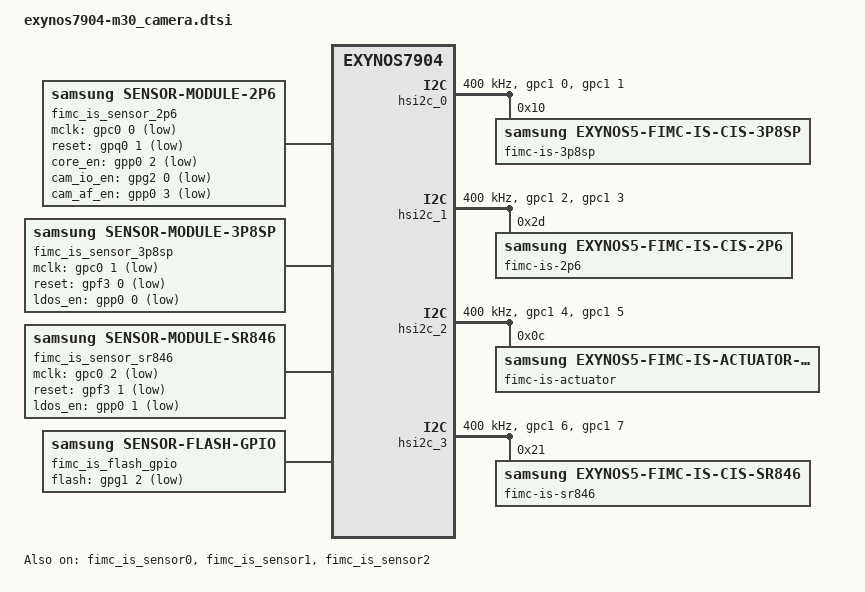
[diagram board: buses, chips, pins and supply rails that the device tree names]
/*
 * SAMSUNG EXYNOS7885 board camera device tree source
 *
 * Copyright (c) 2018 Samsung Electronics Co., Ltd.
 *		http://www.samsung.com
 *
 * This program is free software; you can redistribute it and/or modify
 * it under the terms of the GNU General Public License version 2 as
 * published by the Free Software Foundation.
 */

#include <dt-bindings/camera/fimc_is.h>

/ {
	fragment@camera {
		target-path = "/";
		__overlay__ {

			/* REAR CAMERA */
			fimc_is_sensor_2p6: fimc-is_sensor_2p6@5A {
				compatible = "samsung,sensor-module-2p6";

				pinctrl-names = "pin0", "pin1", "pin2", "release";
				pinctrl-0 = <>;
				pinctrl-1 = <&fimc_is_mclk0_out>;
				pinctrl-2 = <&fimc_is_mclk0_fn>;
				pinctrl-3 = <>;

				position = <0>;	/* Rear:0. Front:1 */
				id = <0>; /* bns_id */
				mclk_ch = <0>;

				gpio_mclk = <&gpc0 0 0x1>;
				gpio_reset = <&gpq0 1 0x1>; /* sensor reset */
				gpio_core_en = <&gpp0 2 0x1>; /* RCAM_LDO_EN */
				gpio_cam_io_en = <&gpg2 0 0x1>; /* RCAM_IO_LDO_EN */
				gpio_cam_af_en = <&gpp0 3 0x1>; /* RCAM_AF_2P8_EN */
				status = "okay";

				af {
					product_name = <16>; /* AK7372 */
					i2c_addr = <0x18>;
					i2c_ch = <3>;
				};

				flash {
					product_name = <11>; /* FLASH_GPIO */
					flash_first_gpio = <1>; /* DICO not use first, second gpio value */
					flash_second_gpio = <0>;
				};

				internal_vc {
					vc_list = <1 1 0>;
				};
			};

			/* FRONT CAMERA */
			fimc_is_sensor_3p8sp: fimc-is_sensor_3p8sp@5A {
				compatible = "samsung,sensor-module-3p8sp";

				pinctrl-names = "pin0", "pin1", "pin2", "release";
				pinctrl-0 = <>;
				pinctrl-1 = <&fimc_is_mclk1_out>;
				pinctrl-2 = <&fimc_is_mclk1_fn>;
				pinctrl-3 = <>;

				position = <1>;	/* Rear:0. Front:1 */
				id = <1>; /* bns_id */
				mclk_ch = <1>;

				gpio_mclk = <&gpc0 1 0x1>;
				gpio_reset = <&gpf3 0 0x1>;	/* sensor reset */
				gpio_ldos_en = <&gpp0 0 0x1>;	/* all LDOs */
				status = "okay";
			};

			/* FRONT2(FRONT SUB) CAMERA */
			fimc_is_sensor_sr846: fimc-is_sensor_sr846@5A {
				compatible = "samsung,sensor-module-sr846";

				pinctrl-names = "pin0", "pin1", "pin2", "release";
				pinctrl-0 = <>;
				pinctrl-1 = <&fimc_is_mclk2_out>;
				pinctrl-2 = <&fimc_is_mclk2_fn>;
				pinctrl-3 = <>;

				position = <2>;	/* Rear:0. Front:1 */
				id = <2>; /* bns_id */
				mclk_ch = <2>;

				gpio_mclk = <&gpc0 2 0x1>;
				gpio_reset = <&gpf3 1 0x1>;	/* sensor reset */
				gpio_ldos_en = <&gpp0 1 0x1>;	/* all LDOs */
				status = "okay";
			};

			/* FLASH MODULE */
			fimc_is_flash_gpio: fimc-is-flash_gpio@0 {
				compatible = "samsung,sensor-flash-gpio";
				id = <0>; /* matching sensor id */
				status = "okay";

				flash-gpio = <&gpg1 2 0x1>;
			};

		}; /* end of __overlay__ */
	}; /* end of fragment */
}; /* end of root */


/***** reference symbol node *****/

&fimc_is {
	pinctrl-names = "default","release";
	pinctrl-0 = <>;
	pinctrl-1 = <>;

	rear_sensor_id = <58>; /* 2P6 */
	front_sensor_id = <44>; /* 3P8SP */
	use_module_check;
	skip_cal_loading;
	fimc_is_dvfs {
		/* TODO: DVFS level set */
		#define DVFS_INT_L0 533000
		#define DVFS_INT_L1 333000
		#define DVFS_INT_L2 267000
		#define DVFS_INT_L3 133000
		#define DVFS_INT_L4 107000

		#define DVFS_CAM_L0 690000
		#define DVFS_CAM_L1 680000
		#define DVFS_CAM_L2 670000
		#define DVFS_CAM_L3 660000
		#define DVFS_CAM_L4 650000

		#define DVFS_MIF_L0 2093000
		#define DVFS_MIF_L1 2002000
		#define DVFS_MIF_L2 1794000
		#define DVFS_MIF_L3 1539000
		#define DVFS_MIF_L4 1352000
		#define DVFS_MIF_L5 1014000
		#define DVFS_MIF_L6 845000
		#define DVFS_MIF_L7 676000
		#define DVFS_MIF_L8 546000
		#define DVFS_MIF_L9 420000

		table0 {
			desc = "default";

			default_int = <DVFS_INT_L0>;
			default_cam = <DVFS_CAM_L0>;
			default_mif = <DVFS_MIF_L5>;
			default_i2c = <0>;

			front_preview_int = <DVFS_INT_L4>;
			front_preview_cam = <DVFS_CAM_L2>;
			front_preview_mif = <DVFS_MIF_L5>;
			front_preview_i2c = <0>;

			front_capture_int = <DVFS_INT_L4>;
			front_capture_cam = <DVFS_CAM_L2>;
			front_capture_mif = <DVFS_MIF_L5>;
			front_capture_i2c = <0>;

			front_video_int = <DVFS_INT_L4>;
			front_video_cam = <DVFS_CAM_L2>;
			front_video_mif = <DVFS_MIF_L5>;
			front_video_i2c = <0>;

			front_vt1_int = <DVFS_INT_L4>;
			front_vt1_cam = <DVFS_CAM_L3>;
			front_vt1_mif = <DVFS_MIF_L7>;
			front_vt1_i2c = <0>;

			front_vt2_int = <DVFS_INT_L4>;
			front_vt2_cam = <DVFS_CAM_L3>;
			front_vt2_mif = <DVFS_MIF_L7>;
			front_vt2_i2c = <0>;

			front_vt4_int = <DVFS_INT_L4>;
			front_vt4_cam = <DVFS_CAM_L3>;
			front_vt4_mif = <DVFS_MIF_L7>;
			front_vt4_i2c = <0>;

			rear_preview_fhd_int = <DVFS_INT_L4>;
			rear_preview_fhd_cam = <DVFS_CAM_L2>;
			rear_preview_fhd_mif = <DVFS_MIF_L4>;
			rear_preview_fhd_i2c = <0>;

			rear_capture_int = <DVFS_INT_L4>;
			rear_capture_cam = <DVFS_CAM_L1>;
			rear_capture_mif = <DVFS_MIF_L3>;
			rear_capture_i2c = <0>;

			rear_video_fhd_int = <DVFS_INT_L4>;
			rear_video_fhd_cam = <DVFS_CAM_L2>;
			rear_video_fhd_mif = <DVFS_MIF_L4>;
			rear_video_fhd_i2c = <0>;

			rear_video_uhd_int = <DVFS_INT_L4>;
			rear_video_uhd_cam = <DVFS_CAM_L2>;
			rear_video_uhd_mif = <DVFS_MIF_L1>;
			rear_video_uhd_i2c = <0>;

			rear_video_fhd_capture_int = <DVFS_INT_L4>;
			rear_video_fhd_capture_cam = <DVFS_CAM_L1>;
			rear_video_fhd_capture_mif = <DVFS_MIF_L3>;
			rear_video_fhd_capture_i2c = <0>;

			rear_video_uhd_capture_int = <DVFS_INT_L4>;
			rear_video_uhd_capture_cam = <DVFS_CAM_L0>;
			rear_video_uhd_capture_mif = <DVFS_MIF_L0>;
			rear_video_uhd_capture_i2c = <0>;

			dual_preview_int = <DVFS_INT_L4>;
			dual_preview_cam = <DVFS_CAM_L0>;
			dual_preview_mif = <DVFS_MIF_L4>;
			dual_preview_i2c = <0>;

			dual_capture_int = <DVFS_INT_L4>;
			dual_capture_cam = <DVFS_CAM_L0>;
			dual_capture_mif = <DVFS_MIF_L4>;
			dual_capture_i2c = <0>;

			dual_video_int = <DVFS_INT_L4>;
			dual_video_cam = <DVFS_CAM_L0>;
			dual_video_mif = <DVFS_MIF_L4>;
			dual_video_i2c = <0>;

			preview_high_speed_fps_int = <DVFS_INT_L4>;
			preview_high_speed_fps_cam = <DVFS_CAM_L2>;
			preview_high_speed_fps_mif = <DVFS_MIF_L5>;
			preview_high_speed_fps_i2c = <0>;

			video_high_speed_60fps_int = <DVFS_INT_L4>;
			video_high_speed_60fps_cam = <DVFS_CAM_L2>;
			video_high_speed_60fps_mif = <DVFS_MIF_L5>;
			video_high_speed_60fps_i2c = <0>;

			video_high_speed_120fps_int = <DVFS_INT_L4>;
			video_high_speed_120fps_cam = <DVFS_CAM_L2>;
			video_high_speed_120fps_mif = <DVFS_MIF_L5>;
			video_high_speed_120fps_i2c = <0>;

			max_int = <DVFS_INT_L0>;
			max_cam = <DVFS_CAM_L0>;
			max_mif = <DVFS_MIF_L5>;
			max_i2c = <0>;
		};

		table1 {
			desc = "DVFS table for HAL3";

			default_int = <DVFS_INT_L0>;
			default_cam = <DVFS_CAM_L0>;
			default_mif = <DVFS_MIF_L5>;
			default_i2c = <0>;

			front_preview_int = <DVFS_INT_L4>;
			front_preview_cam = <DVFS_CAM_L2>;
			front_preview_mif = <DVFS_MIF_L5>;
			front_preview_i2c = <0>;

			front_capture_int = <DVFS_INT_L4>;
			front_capture_cam = <DVFS_CAM_L2>;
			front_capture_mif = <DVFS_MIF_L5>;
			front_capture_i2c = <0>;

			front_video_int = <DVFS_INT_L4>;
			front_video_cam = <DVFS_CAM_L2>;
			front_video_mif = <DVFS_MIF_L5>;
			front_video_i2c = <0>;

			front_vt1_int = <DVFS_INT_L4>;
			front_vt1_cam = <DVFS_CAM_L3>;
			front_vt1_mif = <DVFS_MIF_L5>;
			front_vt1_i2c = <0>;

			front_vt2_int = <DVFS_INT_L4>;
			front_vt2_cam = <DVFS_CAM_L3>;
			front_vt2_mif = <DVFS_MIF_L5>;
			front_vt2_i2c = <0>;

			front_vt4_int = <DVFS_INT_L4>;
			front_vt4_cam = <DVFS_CAM_L3>;
			front_vt4_mif = <DVFS_MIF_L5>;
			front_vt4_i2c = <0>;

			rear_preview_fhd_int = <DVFS_INT_L4>;
			rear_preview_fhd_cam = <DVFS_CAM_L0>;
			rear_preview_fhd_mif = <DVFS_MIF_L2>;
			rear_preview_fhd_i2c = <0>;

			rear_capture_int = <DVFS_INT_L4>;
			rear_capture_cam = <DVFS_CAM_L0>;
			rear_capture_mif = <DVFS_MIF_L2>;
			rear_capture_i2c = <0>;

			rear_video_fhd_int = <DVFS_INT_L4>;
			rear_video_fhd_cam = <DVFS_CAM_L0>;
			rear_video_fhd_mif = <DVFS_MIF_L2>;
			rear_video_fhd_i2c = <0>;

			rear_video_uhd_int = <DVFS_INT_L4>;
			rear_video_uhd_cam = <DVFS_CAM_L2>;
			rear_video_uhd_mif = <DVFS_MIF_L1>;
			rear_video_uhd_i2c = <0>;

			rear_video_fhd_capture_int = <DVFS_INT_L4>;
			rear_video_fhd_capture_cam = <DVFS_CAM_L1>;
			rear_video_fhd_capture_mif = <DVFS_MIF_L3>;
			rear_video_fhd_capture_i2c = <0>;

			rear_video_uhd_capture_int = <DVFS_INT_L4>;
			rear_video_uhd_capture_cam = <DVFS_CAM_L0>;
			rear_video_uhd_capture_mif = <DVFS_MIF_L0>;
			rear_video_uhd_capture_i2c = <0>;

			dual_preview_int = <DVFS_INT_L4>;
			dual_preview_cam = <DVFS_CAM_L0>;
			dual_preview_mif = <DVFS_MIF_L4>;
			dual_preview_i2c = <0>;

			dual_capture_int = <DVFS_INT_L4>;
			dual_capture_cam = <DVFS_CAM_L0>;
			dual_capture_mif = <DVFS_MIF_L4>;
			dual_capture_i2c = <0>;

			dual_video_int = <DVFS_INT_L4>;
			dual_video_cam = <DVFS_CAM_L0>;
			dual_video_mif = <DVFS_MIF_L4>;
			dual_video_i2c = <0>;

			preview_high_speed_fps_int = <DVFS_INT_L4>;
			preview_high_speed_fps_cam = <DVFS_CAM_L2>;
			preview_high_speed_fps_mif = <DVFS_MIF_L5>;
			preview_high_speed_fps_i2c = <0>;

			video_high_speed_60fps_int = <DVFS_INT_L4>;
			video_high_speed_60fps_cam = <DVFS_CAM_L3>;
			video_high_speed_60fps_mif = <DVFS_MIF_L5>;
			video_high_speed_60fps_i2c = <0>;

			video_high_speed_120fps_int = <DVFS_INT_L4>;
			video_high_speed_120fps_cam = <DVFS_CAM_L2>;
			video_high_speed_120fps_mif = <DVFS_MIF_L5>;
			video_high_speed_120fps_i2c = <0>;

			max_int = <DVFS_INT_L0>;
			max_cam = <DVFS_CAM_L0>;
			max_mif = <DVFS_MIF_L5>;
			max_i2c = <0>;
		};
	};
};

&fimc_is_sensor0 {
	scenario = <SENSOR_SCENARIO_NORMAL>;	/* Normal, Vision, OIS etc */
	id = <0>;
	csi_ch = <1>;
	flite_ch = <FLITE_ID_NOTHING>;
	is_bns = <0>;
	is_flite = <0>;
	status = "okay";

	use_ssvc1_internal;
};

&fimc_is_sensor1 {
	scenario = <SENSOR_SCENARIO_NORMAL>;	/* Normal, Vision, OIS etc */
	id = <1>;
	csi_ch = <0>;
	flite_ch = <FLITE_ID_NOTHING>;
	is_bns = <0>;
	is_flite = <0>;
	status = "okay";
};

&fimc_is_sensor2 {
	scenario = <SENSOR_SCENARIO_NORMAL>;	/* Normal, Vision, OIS etc */
	id = <2>;
	csi_ch = <2>;
	flite_ch = <FLITE_ID_NOTHING>;
	is_bns = <0>;
	is_flite = <0>;
	status = "okay";
};

&hsi2c_0 {
	#address-cells = <1>;
	#size-cells = <0>;
	gpios = <&gpc1 0 0 &gpc1 1 0>;
	status = "okay";
	clock-frequency = <400000>;

	pinctrl-names = "on_i2c";
	pinctrl-0 = <&hs_i2c0_bus>;

	fimc-is-3p8sp@2D {
	     compatible = "samsung,exynos5-fimc-is-cis-3p8sp";
	     reg = <0x10>; /* 1 bit right shift */
	     id = <1>; /* matching sensor id */
	     setfile = "setB";
	};
};

&hsi2c_1 {
	#address-cells = <1>;
	#size-cells = <0>;
	gpios = <&gpc1 2 0 &gpc1 3 0>;
	status = "okay";
	clock-frequency = <400000>;

	pinctrl-names = "on_i2c";
	pinctrl-0 = <&hs_i2c1_bus>;

	fimc-is-2p6@10 {
	     compatible = "samsung,exynos5-fimc-is-cis-2p6";
	     reg = <0x2d>; /* 1 bit right shift */
	     id = <0>; /* matching sensor id */
	     setfile = "default";
	};
};

&hsi2c_2 {
	#address-cells = <1>;
	#size-cells = <0>;
	gpios = <&gpc1 4 0 &gpc1 5 0>;
	status = "okay";
	clock-frequency = <400000>;

	pinctrl-names = "on_i2c";
	pinctrl-0 = <&hs_i2c2_bus>;

	fimc-is-actuator@0C {
	     compatible = "samsung,exynos5-fimc-is-actuator-ak7372";
	     reg = <0x0C>;
	     id = <0>;
	     place = <0>;
	};
};

&hsi2c_3 {
	#address-cells = <1>;
	#size-cells = <0>;
	gpios = <&gpc1 6 0 &gpc1 7 0>;
	status = "okay";
	clock-frequency = <400000>;

	pinctrl-names = "on_i2c";
	pinctrl-0 = <&hs_i2c3_bus>;

	fimc-is-sr846@21 {
	     compatible = "samsung,exynos5-fimc-is-cis-sr846";
	     reg = <0x21>; /* 1 bit right shift */
	     id = <2>; /* matching sensor id */
	     setfile = "default";
	};
};



